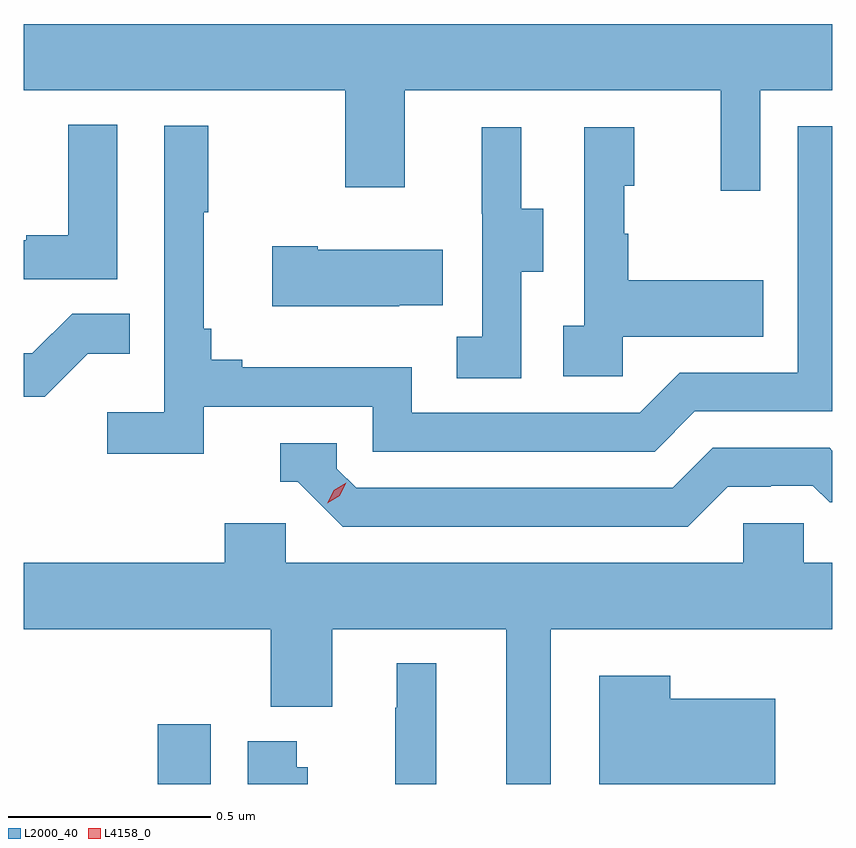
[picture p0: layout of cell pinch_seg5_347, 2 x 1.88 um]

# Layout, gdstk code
import gdstk
lib = gdstk.Library(unit=1e-6, precision=1e-09)
def R(c, l, rs):  # rectangles x0, y0, x1, y1
    for r in rs: c.add(gdstk.rectangle(r[:2], r[2:], *l))
def P(c, l, *ps):  # polygons
    for p in ps: c.add(gdstk.Polygon(p, *l))
L2000_40 = (2000, 40)
L4158_0 = (4158, 0)

pinch_seg5_347 = lib.new_cell('pinch_seg5_347')
R(pinch_seg5_347, L2000_40, [(988.76,881.685,988.891,881.833)])
P(pinch_seg5_347, L2000_40, [(990.249,883.4),(990.428,883.4),(990.428,883.564),(988.428,883.564),(988.428,883.4),(989.224,883.4),(989.224,883.161),(989.371,883.161),(989.371,883.4),(990.152,883.4),(990.152,883.152),(990.249,883.152)],
  [(988.66,883.315),(988.538,883.315),(988.538,883.042),(988.435,883.042),(988.435,883.029),(988.428,883.029),(988.428,882.933),(988.66,882.933)],
  [(988.874,882.618),(989.292,882.618),(989.292,882.507),(989.989,882.507),(990.088,882.606),(990.428,882.606),(990.428,883.311),(990.342,883.311),(990.342,882.702),(990.051,882.702),(989.952,882.603),(989.388,882.603),(989.388,882.715),(988.969,882.715),(988.969,882.734),(988.892,882.734),(988.892,882.811),(988.873,882.811),(988.873,883.099),(988.885,883.099),(988.885,883.312),(988.776,883.312),(988.776,882.604),(988.635,882.604),(988.635,882.502),(988.874,882.502)],
  [(989.91,882.791),(990.257,882.791),(990.257,882.931),(989.923,882.931),(989.923,883.046),(989.913,883.046),(989.913,883.164),(989.938,883.164),(989.938,883.309),(989.814,883.309),(989.814,882.818),(989.763,882.818),(989.763,882.693),(989.91,882.693)],
  [(989.658,882.952),(989.713,882.952),(989.713,883.107),(989.659,883.107),(989.659,883.309),(989.561,883.309),(989.561,883.095),(989.562,883.095),(989.562,882.791),(989.499,882.791),(989.499,882.688),(989.658,882.688)],
  [(989.357,882.869),(989.465,882.869),(989.465,883.006),(989.155,883.006),(989.155,883.014),(989.043,883.014),(989.043,882.866),(989.357,882.866)],
  [(988.587,882.749),(988.691,882.749),(988.691,882.848),(988.548,882.848),(988.45,882.75),(988.428,882.75),(988.428,882.642),(988.48,882.642)],
  [(990.169,882.42),(990.276,882.42),(990.276,882.423),(990.379,882.423),(990.421,882.381),(990.428,882.381),(990.428,882.509),(990.421,882.516),(990.132,882.516),(990.033,882.417),(989.25,882.417),(989.202,882.465),(989.202,882.528),(989.063,882.528),(989.063,882.432),(989.106,882.432),(989.217,882.321),(990.07,882.321)],
  [(989.731,882.068),(990.428,882.068),(990.428,882.232),(990.357,882.232),(990.357,882.33),(990.207,882.33),(990.207,882.232),(989.076,882.232),(989.076,882.33),(988.925,882.33),(988.925,882.232),(988.428,882.232),(988.428,882.068),(989.039,882.068),(989.039,881.876),(989.191,881.876),(989.191,882.068),(989.621,882.068),(989.621,881.685),(989.731,881.685)],
  [(989.449,881.983),(989.351,881.983),(989.351,881.873),(989.347,881.873),(989.347,881.685),(989.449,881.685)],
  [(990.286,881.896),(990.027,881.896),(990.027,881.953),(989.852,881.953),(989.852,881.685),(990.286,881.685)],
  [(989.131,881.727),(989.104,881.727),(989.104,881.791),(988.982,881.791),(988.982,881.685),(989.131,881.685)])
P(pinch_seg5_347, L4158_0, [(989.179,882.379),(989.179,882.379),(989.195,882.411),(989.226,882.43),(989.226,882.43),(989.226,882.43),(989.21,882.398),(989.179,882.379)])

lib.write_gds('pinch_seg5_347.gds')
